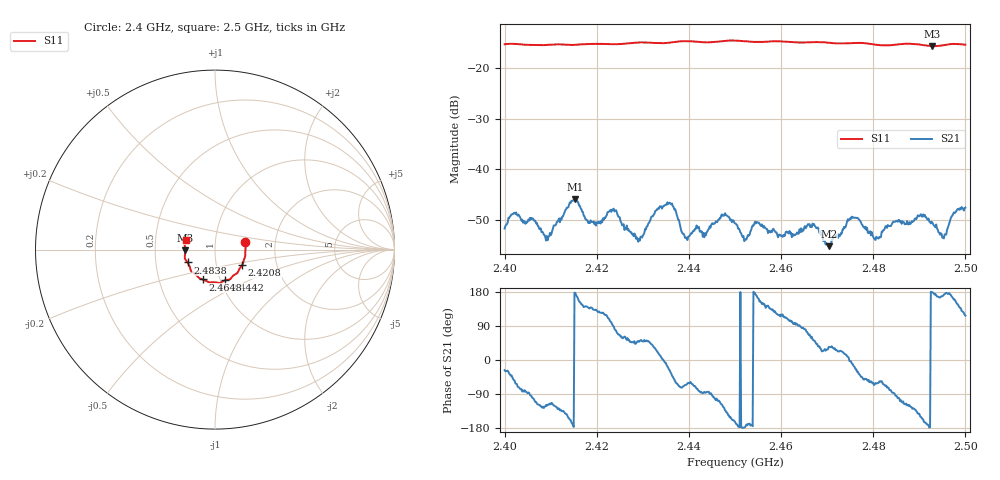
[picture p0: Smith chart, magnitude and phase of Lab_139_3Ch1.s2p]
# Hz S RI R 50
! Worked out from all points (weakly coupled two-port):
!   601 points, 2.4 GHz to 2.5 GHz, reference 50 ohm
!   highest |S21| = -45.84 dB at 2.4153 GHz (marker M1); lowest = -55.2 dB at 2.4703 GHz (marker M2)
!   lowest |S11| = -15.6 dB at 2.4928 GHz (marker M3), VSWR 1.40, Z = 35.8 - j0.363 ohm
!   |S11| at or under -10 dB: start of sweep to end of sweep
!   S12 and S22 are empty: the file has one direction only
!   S11 on the Smith chart (normalised r, x): 2.4 GHz: 1.40, +0.12; 2.4208 GHz: 1.33, -0.24; 2.4442 GHz: 1.05, -0.37; 2.4648 GHz: 0.83, -0.28; 2.4838 GHz: 0.73, -0.11; 2.5 GHz: 0.72, +0.08
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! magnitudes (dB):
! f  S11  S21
! 2.4 GHz  -15.3  -51.7
! 2.4025 GHz  -15.2  -48.5
! 2.4095 GHz  -15.3  -53.4
! 2.4153 GHz  -15.3  -45.8
! 2.4167 GHz  -15.3  -47.9
! 2.4208 GHz  -15.2  -50.7
! 2.4238 GHz  -15.2  -48.3
! 2.4293 GHz  -14.9  -54.1
! 2.4333 GHz  -15.0  -47.7
! 2.4362 GHz  -14.9  -46.9
! 2.4395 GHz  -14.6  -53.5
! 2.4442 GHz  -14.9  -51.9
! 2.45 GHz  -14.5  -50.7
! 2.4648 GHz  -14.9  -52.1
! 2.4667 GHz  -14.8  -51.4
! 2.4703 GHz  -14.9  -55.2
! 2.4755 GHz  -15.0  -49.6
! 2.4833 GHz  -15.5  -51.2
! 2.4838 GHz  -15.4  -51.2
! 2.4928 GHz  -15.6  -50.5
! 2.4953 GHz  -15.4  -53.7
! 2.5 GHz  -15.3  -47.6
